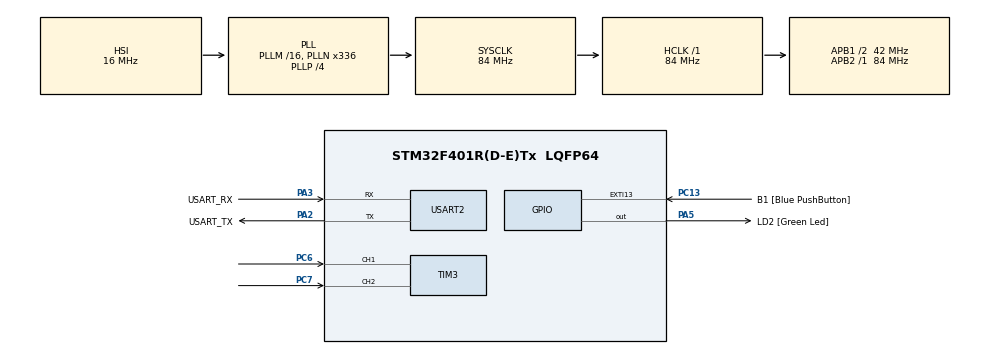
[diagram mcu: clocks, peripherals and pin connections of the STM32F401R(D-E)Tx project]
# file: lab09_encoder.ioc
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Mcu.Family=STM32F4
Mcu.Name=STM32F401R(D-E)Tx
Mcu.Package=LQFP64
NVIC.PriorityGroup=NVIC_PRIORITYGROUP_0
PA13.GPIO_Label=TMS
PA13.Mode=Serial_Wire
PA13.Signal=SYS_JTMS-SWDIO
PA14.GPIO_Label=TCK
PA14.Mode=Serial_Wire
PA14.Signal=SYS_JTCK-SWCLK
PA2.GPIO_Label=USART_TX
PA2.GPIO_Mode=GPIO_MODE_AF_PP
PA2.GPIO_PuPd=GPIO_NOPULL
PA2.GPIO_Speed=GPIO_SPEED_FREQ_LOW
PA2.Mode=Asynchronous
PA2.Signal=USART2_TX
PA3.GPIO_Label=USART_RX
PA3.GPIO_Mode=GPIO_MODE_AF_PP
PA3.GPIO_PuPd=GPIO_NOPULL
PA3.GPIO_Speed=GPIO_SPEED_FREQ_LOW
PA3.Mode=Asynchronous
PA3.Signal=USART2_RX
PA5.GPIO_Label=LD2 [Green Led]
PA5.GPIO_Mode=GPIO_MODE_OUTPUT_PP
PA5.GPIO_PuPd=GPIO_NOPULL
PA5.GPIO_Speed=GPIO_SPEED_FREQ_LOW
PA5.Signal=GPIO_Output
PB3.Signal=SYS_JTDO-SWO
PC13-ANTI_TAMP.GPIO_Label=B1 [Blue PushButton]
PC13-ANTI_TAMP.GPIO_ModeDefaultEXTI=GPIO_MODE_IT_FALLING
PC13-ANTI_TAMP.GPIO_PuPd=GPIO_NOPULL
PC13-ANTI_TAMP.Signal=GPXTI13
PC14-OSC32_IN.Mode=LSE-External-Oscillator
PC14-OSC32_IN.Signal=RCC_OSC32_IN
PC15-OSC32_OUT.Mode=LSE-External-Oscillator
PC15-OSC32_OUT.Signal=RCC_OSC32_OUT
PC6.Signal=S_TIM3_CH1
PC7.Signal=S_TIM3_CH2
PH0\ -\ OSC_IN.Mode=HSE-External-Clock-Source
PH0\ -\ OSC_IN.Signal=RCC_OSC_IN
PH1\ -\ OSC_OUT.Mode=HSE-External-Clock-Source
PH1\ -\ OSC_OUT.Signal=RCC_OSC_OUT
ProjectManager.HeapSize=0x200
ProjectManager.StackSize=0x400
ProjectManager.TargetToolchain=STM32CubeIDE
RCC.48MHZClocksFreq_Value=48000000
RCC.AHBFreq_Value=84000000
RCC.APB1CLKDivider=RCC_HCLK_DIV2
RCC.APB1Freq_Value=42000000
RCC.APB1TimFreq_Value=84000000
RCC.APB2Freq_Value=84000000
RCC.APB2TimFreq_Value=84000000
RCC.CortexFreq_Value=84000000
RCC.HCLKFreq_Value=84000000
RCC.HSE_VALUE=8000000
RCC.HSI_VALUE=16000000
RCC.PLLN=336
RCC.PLLP=RCC_PLLP_DIV4
RCC.PLLQ=7
RCC.SYSCLKFreq_VALUE=84000000
RCC.SYSCLKSource=RCC_SYSCLKSOURCE_PLLCLK
RCC.VCOOutputFreq_Value=336000000
SH.S_TIM3_CH1.0=TIM3_CH1,Encoder_Interface
SH.S_TIM3_CH2.0=TIM3_CH2,Encoder_Interface
TIM3.ClockDivision=TIM_CLOCKDIVISION_DIV4
TIM3.IC1Filter=15
TIM3.IC1Polarity=TIM_ICPOLARITY_FALLING
TIM3.IC2Filter=15
USART2.VirtualMode=VM_ASYNC
board=NUCLEO-F401RE

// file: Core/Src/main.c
/* USER CODE BEGIN Header */
/**
  ******************************************************************************
  * @file           : main.c
  * @brief          : Main program body
  ******************************************************************************
  * @attention
  *
  * Copyright (c) 2023 STMicroelectronics.
  * All rights reserved.
  *
  * This software is licensed under terms that can be found in the LICENSE file
  * in the root directory of this software component.
  * If no LICENSE file comes with this software, it is provided AS-IS.
  *
  ******************************************************************************
  */
/* USER CODE END Header */
#include "main.h"

TIM_HandleTypeDef htim3;

UART_HandleTypeDef huart2;

void SystemClock_Config(void);
static void MX_GPIO_Init(void);
static void MX_USART2_UART_Init(void);
static void MX_TIM3_Init(void);

int main(void)
{

  /* MCU Configuration--------------------------------------------------------*/

  /* Reset of all peripherals, Initializes the Flash interface and the Systick. */
  HAL_Init();

  /* Configure the system clock */
  SystemClock_Config();

  /* Initialize all configured peripherals */
  MX_GPIO_Init();
  MX_USART2_UART_Init();
  MX_TIM3_Init();
  /* USER CODE BEGIN 2 */
  HAL_TIM_Encoder_Start(&htim3, TIM_CHANNEL_1);
  HAL_TIM_Encoder_Start(&htim3, TIM_CHANNEL_2);

  char message[32];
  int len = 0;

  int old = 0;
  int delta = 0;
  int new = 0;
  float rpm = 0;
  /* USER CODE END 2 */

  /* Infinite loop */
  /* USER CODE BEGIN WHILE */
  while (1)
  {
	new =  __HAL_TIM_GET_COUNTER(&htim3);
	delta = new - old;

	/*
	if(delta > 32768) {
		delta = -65535;
	} else if(delta < -32768) {
		delta = 65535;
	}*/

	rpm = delta / 24.0;
	rpm *= 60;

	len = snprintf(message, 32, "%.3f\r\n", rpm);
	HAL_UART_Transmit(&huart2, message, len, 10);
	old = new;
	HAL_Delay(1000);
    /* USER CODE END WHILE */

  }
}

void SystemClock_Config(void)
{
  RCC_OscInitTypeDef RCC_OscInitStruct = {0};
  RCC_ClkInitTypeDef RCC_ClkInitStruct = {0};

  /** Configure the main internal regulator output voltage
  */
  __HAL_RCC_PWR_CLK_ENABLE();
  __HAL_PWR_VOLTAGESCALING_CONFIG(PWR_REGULATOR_VOLTAGE_SCALE2);

  /** Initializes the RCC Oscillators according to the specified parameters
  * in the RCC_OscInitTypeDef structure.
  */
  RCC_OscInitStruct.OscillatorType = RCC_OSCILLATORTYPE_HSI;
  RCC_OscInitStruct.HSIState = RCC_HSI_ON;
  RCC_OscInitStruct.HSICalibrationValue = RCC_HSICALIBRATION_DEFAULT;
  RCC_OscInitStruct.PLL.PLLState = RCC_PLL_ON;
  RCC_OscInitStruct.PLL.PLLSource = RCC_PLLSOURCE_HSI;
  RCC_OscInitStruct.PLL.PLLM = 16;
  RCC_OscInitStruct.PLL.PLLN = 336;
  RCC_OscInitStruct.PLL.PLLP = RCC_PLLP_DIV4;
  RCC_OscInitStruct.PLL.PLLQ = 7;
  if (HAL_RCC_OscConfig(&RCC_OscInitStruct) != HAL_OK)
  {
    Error_Handler();
  }

  /** Initializes the CPU, AHB and APB buses clocks
  */
  RCC_ClkInitStruct.ClockType = RCC_CLOCKTYPE_HCLK|RCC_CLOCKTYPE_SYSCLK
                              |RCC_CLOCKTYPE_PCLK1|RCC_CLOCKTYPE_PCLK2;
  RCC_ClkInitStruct.SYSCLKSource = RCC_SYSCLKSOURCE_PLLCLK;
  RCC_ClkInitStruct.AHBCLKDivider = RCC_SYSCLK_DIV1;
  RCC_ClkInitStruct.APB1CLKDivider = RCC_HCLK_DIV2;
  RCC_ClkInitStruct.APB2CLKDivider = RCC_HCLK_DIV1;

  if (HAL_RCC_ClockConfig(&RCC_ClkInitStruct, FLASH_LATENCY_2) != HAL_OK)
  {
    Error_Handler();
  }
}

static void MX_TIM3_Init(void)
{

  TIM_Encoder_InitTypeDef sConfig = {0};
  TIM_MasterConfigTypeDef sMasterConfig = {0};

  htim3.Instance = TIM3;
  htim3.Init.Prescaler = 0;
  htim3.Init.CounterMode = TIM_COUNTERMODE_UP;
  htim3.Init.Period = 65535;
  htim3.Init.ClockDivision = TIM_CLOCKDIVISION_DIV4;
  htim3.Init.AutoReloadPreload = TIM_AUTORELOAD_PRELOAD_DISABLE;
  sConfig.EncoderMode = TIM_ENCODERMODE_TI1;
  sConfig.IC1Polarity = TIM_ICPOLARITY_FALLING;
  sConfig.IC1Selection = TIM_ICSELECTION_DIRECTTI;
  sConfig.IC1Prescaler = TIM_ICPSC_DIV1;
  sConfig.IC1Filter = 15;
  sConfig.IC2Polarity = TIM_ICPOLARITY_RISING;
  sConfig.IC2Selection = TIM_ICSELECTION_DIRECTTI;
  sConfig.IC2Prescaler = TIM_ICPSC_DIV1;
  sConfig.IC2Filter = 15;
  if (HAL_TIM_Encoder_Init(&htim3, &sConfig) != HAL_OK)
  {
    Error_Handler();
  }
  sMasterConfig.MasterOutputTrigger = TIM_TRGO_RESET;
  sMasterConfig.MasterSlaveMode = TIM_MASTERSLAVEMODE_DISABLE;
  if (HAL_TIMEx_MasterConfigSynchronization(&htim3, &sMasterConfig) != HAL_OK)
  {
    Error_Handler();
  }

}

static void MX_USART2_UART_Init(void)
{

  huart2.Instance = USART2;
  huart2.Init.BaudRate = 115200;
  huart2.Init.WordLength = UART_WORDLENGTH_8B;
  huart2.Init.StopBits = UART_STOPBITS_1;
  huart2.Init.Parity = UART_PARITY_NONE;
  huart2.Init.Mode = UART_MODE_TX_RX;
  huart2.Init.HwFlowCtl = UART_HWCONTROL_NONE;
  huart2.Init.OverSampling = UART_OVERSAMPLING_16;
  if (HAL_UART_Init(&huart2) != HAL_OK)
  {
    Error_Handler();
  }

}

static void MX_GPIO_Init(void)
{
  GPIO_InitTypeDef GPIO_InitStruct = {0};

  /* GPIO Ports Clock Enable */
  __HAL_RCC_GPIOC_CLK_ENABLE();
  __HAL_RCC_GPIOH_CLK_ENABLE();
  __HAL_RCC_GPIOA_CLK_ENABLE();
  __HAL_RCC_GPIOB_CLK_ENABLE();

  /*Configure GPIO pin Output Level */
  HAL_GPIO_WritePin(LD2_GPIO_Port, LD2_Pin, GPIO_PIN_RESET);

  /*Configure GPIO pin : B1_Pin */
  GPIO_InitStruct.Pin = B1_Pin;
  GPIO_InitStruct.Mode = GPIO_MODE_IT_FALLING;
  GPIO_InitStruct.Pull = GPIO_NOPULL;
  HAL_GPIO_Init(B1_GPIO_Port, &GPIO_InitStruct);

  /*Configure GPIO pin : LD2_Pin */
  GPIO_InitStruct.Pin = LD2_Pin;
  GPIO_InitStruct.Mode = GPIO_MODE_OUTPUT_PP;
  GPIO_InitStruct.Pull = GPIO_NOPULL;
  GPIO_InitStruct.Speed = GPIO_SPEED_FREQ_LOW;
  HAL_GPIO_Init(LD2_GPIO_Port, &GPIO_InitStruct);

}

void Error_Handler(void)
{
  __disable_irq();
  while (1)
  {
  }
}
